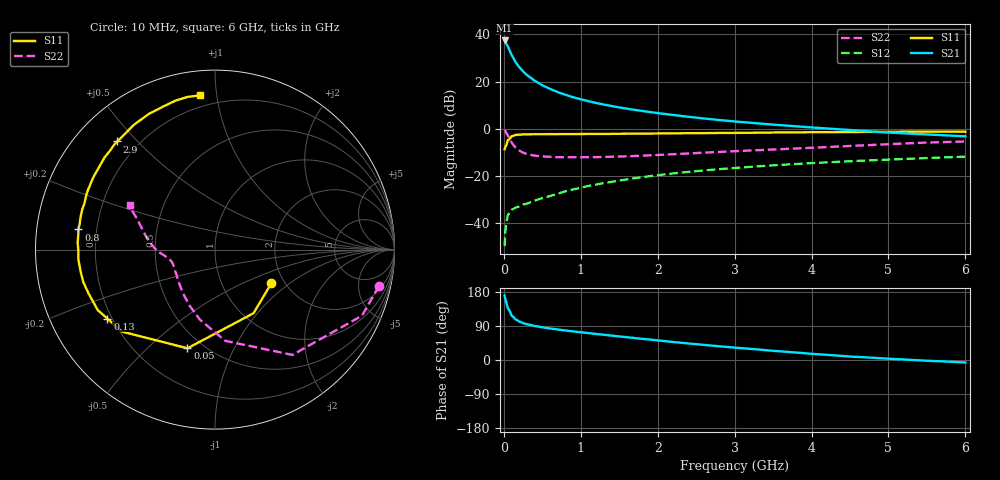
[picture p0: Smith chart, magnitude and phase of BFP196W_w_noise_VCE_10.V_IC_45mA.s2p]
! (c) 2017  Infineon Technologies AG, Munich
! Infineon Technologies  Discrete & RF Semiconductors
! BFP196W
! VCE =  10. V,  IC =  45 mA
! Common Emitter S-Parameters:  Jan 2017
# GHz  S  MA  R  50
!  f  S11  S21  S12  S22
! GHz  MAG  ANG  MAG  ANG  MAG  ANG  MAG  ANG
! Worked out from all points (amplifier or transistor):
!   77 points, 10 MHz to 6 GHz, reference 50 ohm
!   highest |S21| = 37.5 dB at 10 MHz (marker M1)
!   |S21| within 3 dB of that: start of sweep to 57.72 MHz
!   unconditionally stable (mu >= 1): 769.7 MHz to 3.264 GHz
!   at 130 MHz: K = 0.37, MSG = 31.8 dB, |S12| = -33.9 dB
!   at 2.2 GHz: K = 1.04, MAG = 11.1 dB, |S12| = -19.0 dB
!   at 6 GHz: K = 0.92, MSG = 4.3 dB, |S12| = -11.9 dB
!   lowest NFmin = 1.31 dB at 450 MHz
!   S11 on the Smith chart (normalised r, x): 10 MHz: 1.71, -0.74; 50 MHz: 0.41, -0.67; 130 MHz: 0.18, -0.28; 800 MHz: 0.13, +0.07; 2.9 GHz: 0.12, +0.44; 6 GHz: 0.13, +0.90
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0.01  0.3658 -30.9  74.63 170.0  0.0032 76.0  0.9362 -12.5
0.02  0.4144 -58.8  70.81 159.9  0.0067 69.3  0.8979 -24.2
0.05  0.5708 -105.6  56.15 137.4  0.0142 53.1  0.7283 -53.7
0.1  0.6907 -138.6  36.77 117.4  0.0188 43.2  0.5115 -83.6
0.13  0.7121 -147.3  30.4 112.4  0.0201 41.3  0.4385 -93.6
0.15  0.735 -152.7  26.34 107.7  0.021 40.1  0.3994 -102.1
0.2  0.7454 -160.7  20.25 101.6  0.0222 39.4  0.3437 -114.2
0.25  0.756 -166.3  16.4 97.4  0.0245 42.0  0.3095 -123.5
0.3  0.7581 -170.1  13.74 94.4  0.0256 43.6  0.2894 -130.4
0.4  0.7632 -175.7  10.43 89.7  0.0295 48.2  0.2676 -140.1
0.5  0.7613 -179.8  8.358 86.2  0.0336 51.3  0.2568 -146.4
0.6  0.7664 177.0  6.992 83.2  0.0371 54.0  0.2529 -151.1
0.7  0.7658 174.2  5.988 80.6  0.0416 56.7  0.2482 -154.4
0.8  0.769 171.6  5.251 77.9  0.0468 58.7  0.2478 -156.8
1.1  0.7717 164.7  3.833 71.0  0.061 60.2  0.2485 -162.0
1.5  0.779 156.9  2.825 62.3  0.0791 60.2  0.2567 -166.9
2.1  0.7917 145.3  2.044 49.7  0.1073 57.2  0.2813 -172.8
2.9  0.8118 132.1  1.473 34.5  0.1422 51.2  0.3267 -179.8
3.1  0.8153 129.1  1.379 31.1  0.1503 49.6  0.3382 178.3
4.1  0.8415 114.8  1.035 15.0  0.1891 41.6  0.3996 167.7
5.1  0.8593 103.9  0.811 2.4  0.2238 34.0  0.4762 157.6
6  0.863 95.4  0.688 -6.5  0.2545 27.1  0.5329 152.3
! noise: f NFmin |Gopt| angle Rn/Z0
0.45  1.31  0.5  -177  0.05
0.9  1.44  0.54  -172  0.07
1.9  2.26  0.69  -150  0.15
2.4  2.66  0.73  -145  0.25
